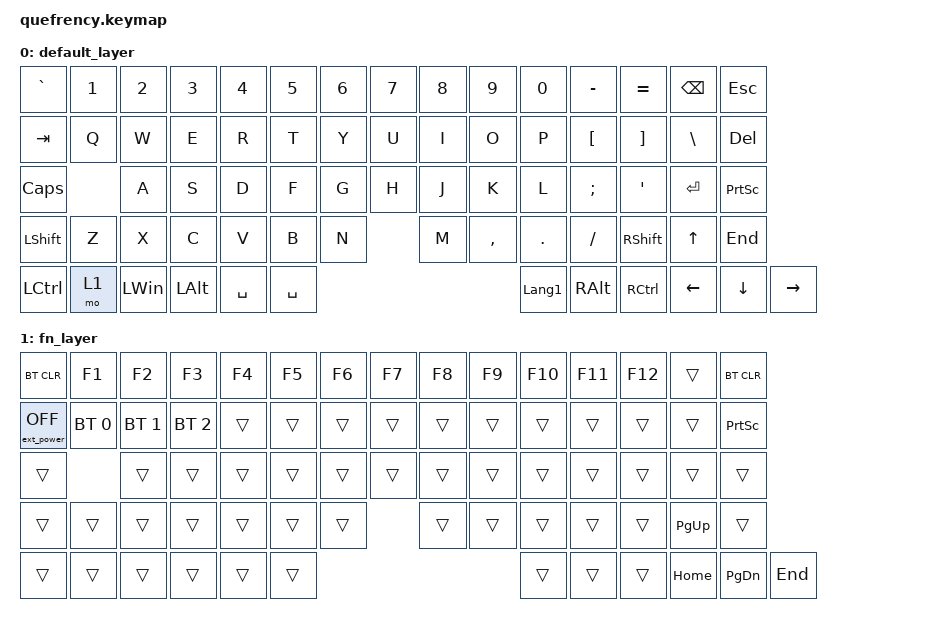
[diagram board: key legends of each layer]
/*
 * Copyright (c) 2020 The ZMK Contributors
 *
 * SPDX-License-Identifier: MIT
 */

#include <behaviors.dtsi>
#include <dt-bindings/zmk/bt.h>
#include <dt-bindings/zmk/ext_power.h>
#include <dt-bindings/zmk/keys.h>

/ {
    keymap {
        compatible = "zmk,keymap";

        // ----------------------------------------------      -----------------------------------------------------
        // | `     |  1   |  2  |  3   |  4  |  5  |  6  |      |  7  |  8  |  9  |  0  |  -  |  =  |  BKSPC | ESC   |
        // | TAB   |  Q   |  W  |  E   |  R  |  T  |        |  Y  |  U  |  I  |  O  |  P  |  [  |  ]  |  \  | DELETE  |
        // | CAPSLOCK  |  A   |  S  |  D   |  F  |  G  |        |  H  |  J  |  K  |  L  |  ;  |  '  |   ENTER  | PGUP |
        // | SHIFT   |  Z   |  X  |  C  |  V   |  B  |        |  N  |  M  |  ,  |  .  |  /  |  RSHFT  |  UP | PGDN |
        // | LCTRL   | LGUI | LALT | FN |   SPACE    |        |    SPACE    | LANG1 | RALT | RCTRL | LFT | DWN | RGHT |
        // -------------------------------------------        ------------------------------------------------------

        default_layer {
            bindings = <
&kp GRAVE     &kp N1         &kp N2               &kp N3         &kp N4               &kp N5         &kp N6       &kp N7     &kp N8  &kp N9     &kp N0          &kp MINUS  &kp EQUAL             &kp BSPC            &kp ESC
&kp TAB               &kp Q                &kp W          &kp E                &kp R          &kp T               &kp Y      &kp U   &kp I      &kp O           &kp P      &kp LBKT              &kp RBKT  &kp BSLH                   &kp DELETE
&kp CAPSLOCK                 &kp A                &kp S          &kp D                &kp F          &kp G        &kp H      &kp J   &kp K      &kp L           &kp SEMI   &kp SQT               &kp RET             &kp PRINTSCREEN
&kp LSHFT                    &kp Z                &kp X          &kp C                &kp V          &kp B        &kp N      &kp M   &kp COMMA  &kp DOT         &kp FSLH              &kp RSHFT            &kp UP    &kp END
&kp LCTRL     &mo 1          &kp LEFT_WIN                        &kp LEFT_ALT                        &kp SPACE    &kp SPACE                     &kp LANGUAGE_1  &kp RALT   &kp RCTRL             &kp LEFT            &kp DOWN         &kp RIGHT
            >;
        };

        // ----------------------------------------------     -----------------------------------------------------
        // |BT_CLR|  F1  |  F2 |  F3  |  F4 |  F5 |  F6 |     |  F7 |  F8 |  F9 | F10 | F11 | F12 |        |BT_CLR|
        // |EP_OFF | BT-0 | BT-1| BT-2 |     |     |       |     |     |     |     |     |     |     |     |      |
        // |        |      |     |      |     |     |       |     |     |     |     |     |     |          |      |
        // |         |      |     |     |      |     |       |     |     |     |     |     |         |     |      |
        // |         |      |      |           |     |       |             |      |    |       |     |     |      |
        // -------------------------------------------       ------------------------------------------------------

        fn_layer {
            bindings = <
&bt BT_CLR         &kp F1                &kp F2                &kp F3                &kp F4          &kp F5          &kp F6    &kp F7  &kp F8  &kp F9  &kp F10  &kp F11  &kp F12          &trans               &bt BT_CLR
&ext_power EP_OFF          &bt BT_SEL 0          &bt BT_SEL 1          &bt BT_SEL 2          &trans          &trans            &trans  &trans  &trans  &trans   &trans   &trans           &trans    &trans                    &kp PRINTSCREEN
&trans                                   &trans                &trans                &trans          &trans          &trans    &trans  &trans  &trans  &trans   &trans   &trans           &trans               &trans
&trans                                   &trans                &trans                &trans          &trans          &trans    &trans  &trans  &trans  &trans   &trans            &trans            &kp PG_UP  &trans
&trans             &trans                &trans                                      &trans                          &trans    &trans                  &trans   &trans   &trans           &kp HOME             &kp PAGE_DOWN  &kp END
            >;
        };
    };
};
